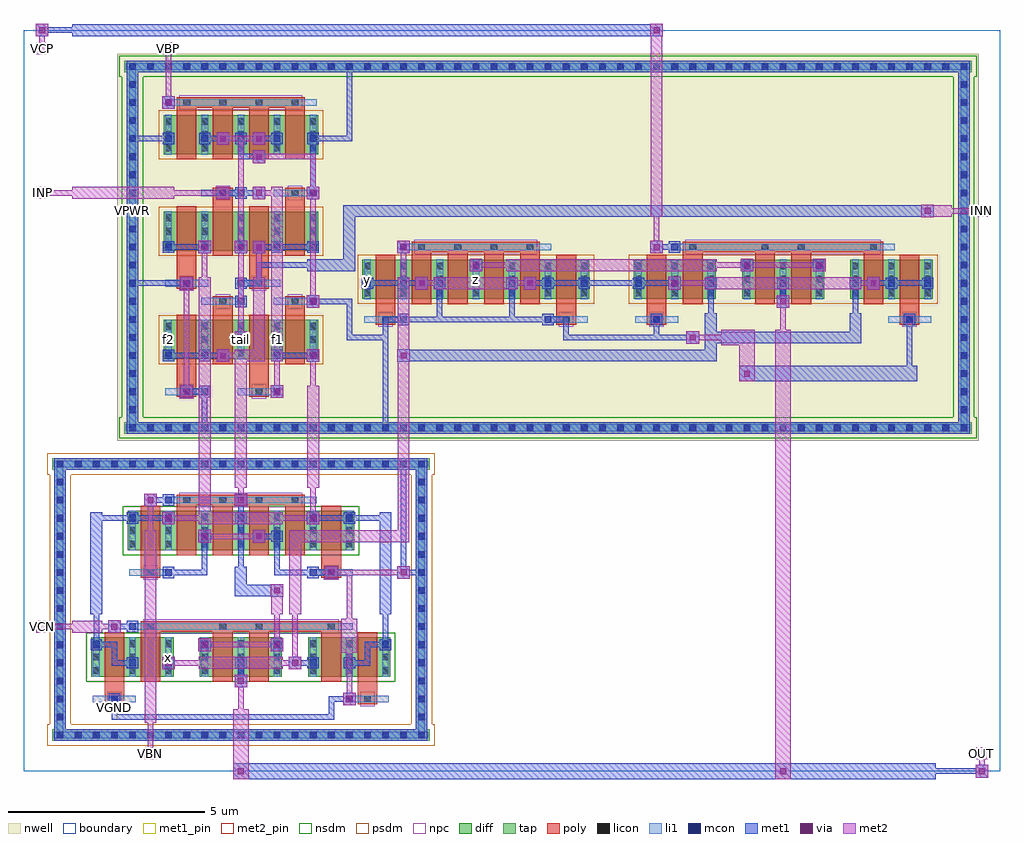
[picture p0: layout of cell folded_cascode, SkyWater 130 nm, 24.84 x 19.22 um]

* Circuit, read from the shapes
.subckt folded_cascode INN INP OUT VBN VBP VCN VCP VGND VPWR f1 f2 tail x y z
XM1 f1 VGND f1 VGND sky130_fd_pr__nfet_01v8 w=1 l=0.5 m=4
XM2 x VCN f1 VGND sky130_fd_pr__nfet_01v8 w=1 l=0.5 m=2
XM3 VGND VBN f1 VGND sky130_fd_pr__nfet_01v8 w=1 l=0.5 m=2
XM4 OUT VCN f2 VGND sky130_fd_pr__nfet_01v8 w=1 l=0.5 m=2
XM5 f2 VBN VGND VGND sky130_fd_pr__nfet_01v8 w=1 l=0.5 m=2
XM6 f2 VPWR f2 VPWR sky130_fd_pr__pfet_01v8 w=1 l=0.5 m=2
XM7 f1 VPWR f1 VPWR sky130_fd_pr__pfet_01v8 w=1 l=0.5 m=2
XM8 tail VBP VPWR VPWR sky130_fd_pr__pfet_01v8 w=1 l=0.5 m=4
XM9 tail INN f2 VPWR sky130_fd_pr__pfet_01v8 w=1 l=0.5 m=2
XM10 tail INP f1 VPWR sky130_fd_pr__pfet_01v8 w=1 l=0.5 m=2
XM11 y VPWR y VPWR sky130_fd_pr__pfet_01v8 w=1 l=0.5 m=4
XM12 VPWR x y VPWR sky130_fd_pr__pfet_01v8 w=1 l=0.5 m=2
XM13 z x VPWR VPWR sky130_fd_pr__pfet_01v8 w=1 l=0.5 m=2
XM14 x VCP y VPWR sky130_fd_pr__pfet_01v8 w=1 l=0.5 m=2
XM15 OUT VCP z VPWR sky130_fd_pr__pfet_01v8 w=1 l=0.5 m=2
.ends

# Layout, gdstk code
import gdstk
lib = gdstk.Library(unit=1e-6, precision=1e-09)
def R(c, l, rs):  # rectangles x0, y0, x1, y1
    for r in rs: c.add(gdstk.rectangle(r[:2], r[2:], *l))
def A(c, l, x, y, w, h, nx, ny, dx, dy):  # array of equal rectangles
    R(c, l, [(x+i*dx, y+j*dy, x+i*dx+w, y+j*dy+h) for i in range(nx) for j in range(ny)])
nwell = (64, 20)
diff = (65, 20)
tap = (65, 44)
poly = (66, 20)
licon = (66, 44)
li1 = (67, 20)
mcon = (67, 44)
met1_pin = (68, 16)
met1 = (68, 20)
via = (68, 44)
met2_pin = (69, 16)
met2 = (69, 20)
nsdm = (93, 44)
psdm = (94, 20)
npc = (95, 20)
boundary = (235, 4)

folded_cascode = lib.new_cell('folded_cascode')
R(folded_cascode, nwell, [(2.375,8.415,24.305,18.265)])
A(folded_cascode, diff, 1.715, 2.405, 2.09, 1, 3, 1, 2.76, 0)
A(folded_cascode, diff, 15.515, 12.02, 2.09, 1, 3, 1, 2.76, 0)
R(folded_cascode, diff, [(2.635,5.625,8.405,6.625), (3.555,10.485,7.485,11.485), (8.615,12.02,14.385,13.02), (3.555,13.245,7.485,14.245), (3.555,15.7,7.485,16.7)])
R(folded_cascode, tap, [(0.715,0.775,10.325,1.065), (0.775,0.775,1.065,7.965), (9.975,0.775,10.265,7.965), (0.715,7.675,10.325,7.965), (2.555,8.595,24.125,8.885), (2.615,8.595,2.905,18.085), (23.775,8.595,24.065,18.085), (2.555,17.795,24.125,18.085)])
A(folded_cascode, poly, 3.89, 5.495, 0.5, 1.405, 4, 1, 0.92, 0)
A(folded_cascode, poly, 9.87, 11.89, 0.5, 1.45, 4, 1, 0.92, 0)
A(folded_cascode, poly, 3.89, 15.57, 0.5, 1.45, 4, 1, 0.92, 0)
R(folded_cascode, poly, [(2.05,1.705,2.55,1.975), (8.49,1.705,8.99,1.975), (2.05,1.84,2.55,3.535), (8.49,1.84,8.99,3.535), (2.97,2.275,3.47,3.68), (4.81,2.275,5.31,3.68), (5.73,2.275,6.23,3.68), (7.57,2.275,8.07,3.68), (2.97,3.545,8.07,3.815), (2.97,4.925,3.47,5.195), (7.57,4.925,8.07,5.195), (2.97,5.06,3.47,6.755), (7.57,5.06,8.07,6.755), (3.89,6.765,7.15,7.035), (3.89,9.525,4.39,9.795), (5.73,9.525,6.23,9.795), (3.89,9.66,4.39,11.615), (5.73,9.66,6.23,11.615), (4.81,10.355,5.31,11.96), (6.65,10.355,7.15,11.96), (8.95,11.365,9.45,11.635), (13.55,11.365,14.05,11.635), (15.85,11.365,16.35,11.635), (22.29,11.365,22.79,11.635), (8.95,11.5,9.45,13.15), (13.55,11.5,14.05,13.15), (15.85,11.5,16.35,13.15), (22.29,11.5,22.79,13.15), (4.81,11.825,5.31,12.095), (6.65,11.825,7.15,12.095), (16.77,11.89,17.27,13.34), (18.61,11.89,19.11,13.34), (19.53,11.89,20.03,13.34), (21.37,11.89,21.87,13.34), (3.89,12.285,4.39,12.555), (5.73,12.285,6.23,12.555), (3.89,12.42,4.39,14.375), (5.73,12.42,6.23,14.375), (4.81,13.115,5.31,14.72), (6.65,13.115,7.15,14.72), (9.87,13.205,13.13,13.475), (16.77,13.205,21.87,13.475), (4.81,14.585,5.31,14.855), (6.65,14.585,7.15,14.855), (3.89,16.885,7.15,17.155)])
A(folded_cascode, licon, 0.835, 0.835, 0.17, 0.17, 21, 2, 0.46, 6.9)
A(folded_cascode, licon, 0.835, 1.295, 0.17, 0.17, 1, 14, 0, 0.46)
A(folded_cascode, licon, 10.035, 1.295, 0.17, 0.17, 1, 14, 0, 0.46)
A(folded_cascode, licon, 1.755, 2.48, 0.17, 0.17, 9, 3, 0.92, 0.34)
A(folded_cascode, licon, 2.675, 5.7, 0.17, 0.17, 7, 3, 0.92, 0.34)
A(folded_cascode, licon, 4.055, 6.815, 0.17, 0.17, 4, 2, 0.92, 10.12)
A(folded_cascode, licon, 2.675, 8.655, 0.17, 0.17, 47, 2, 0.46, 9.2)
A(folded_cascode, licon, 2.675, 9.115, 0.17, 0.17, 1, 19, 0, 0.46)
A(folded_cascode, licon, 23.835, 9.115, 0.17, 0.17, 1, 19, 0, 0.46)
A(folded_cascode, licon, 3.595, 10.56, 0.17, 0.17, 5, 3, 0.92, 0.34)
A(folded_cascode, licon, 8.655, 12.095, 0.17, 0.17, 7, 3, 0.92, 0.34)
A(folded_cascode, licon, 15.555, 12.095, 0.17, 0.17, 9, 3, 0.92, 0.34)
A(folded_cascode, licon, 10.035, 13.255, 0.17, 0.17, 4, 1, 0.92, 0)
A(folded_cascode, licon, 3.595, 13.32, 0.17, 0.17, 5, 3, 0.92, 0.34)
A(folded_cascode, licon, 3.595, 15.775, 0.17, 0.17, 5, 3, 0.92, 0.34)
R(folded_cascode, licon, [(2.215,1.755,2.385,1.925), (8.655,1.755,8.825,1.925), (3.135,3.595,3.305,3.765), (4.975,3.595,5.145,3.765), (5.895,3.595,6.065,3.765), (7.735,3.595,7.905,3.765), (3.135,4.975,3.305,5.145), (7.735,4.975,7.905,5.145), (4.055,9.575,4.225,9.745), (5.895,9.575,6.065,9.745), (9.115,11.415,9.285,11.585), (13.715,11.415,13.885,11.585), (16.015,11.415,16.185,11.585), (22.455,11.415,22.625,11.585), (4.975,11.875,5.145,12.045), (6.815,11.875,6.985,12.045), (4.055,12.335,4.225,12.505), (5.895,12.335,6.065,12.505), (16.935,13.255,17.105,13.425), (18.775,13.255,18.945,13.425), (19.695,13.255,19.865,13.425), (21.535,13.255,21.705,13.425), (4.975,14.635,5.145,14.805), (6.815,14.635,6.985,14.805)])
A(folded_cascode, li1, 1.755, 2.4, 0.17, 1.01, 9, 1, 0.92, 0)
A(folded_cascode, li1, 2.675, 5.62, 0.17, 1.01, 7, 1, 0.92, 0)
A(folded_cascode, li1, 3.595, 10.48, 0.17, 1.01, 5, 2, 0.92, 2.76)
A(folded_cascode, li1, 8.655, 12.015, 0.17, 1.01, 7, 1, 0.92, 0)
A(folded_cascode, li1, 15.555, 12.015, 0.17, 1.01, 9, 1, 0.92, 0)
A(folded_cascode, li1, 3.595, 15.695, 0.17, 1.01, 5, 1, 0.92, 0)
R(folded_cascode, li1, [(0.755,0.835,10.285,1.005), (0.835,0.835,1.005,7.905), (10.035,0.835,10.205,7.905), (1.755,1.755,2.845,1.925), (8.195,1.755,9.285,1.925), (2.675,3.595,8.365,3.765), (2.675,4.975,3.765,5.145), (7.275,4.975,8.365,5.145), (3.595,6.815,7.445,6.985), (0.755,7.735,10.285,7.905), (2.595,8.655,24.085,8.825), (2.675,8.655,2.845,18.025), (23.835,8.655,24.005,18.025), (3.595,9.575,4.685,9.745), (5.435,9.575,6.525,9.745), (8.655,11.415,9.745,11.585), (13.255,11.415,14.345,11.585), (15.555,11.415,16.645,11.585), (21.995,11.415,23.085,11.585), (4.515,11.875,5.605,12.045), (6.355,11.875,7.445,12.045), (3.595,12.335,4.685,12.505), (5.435,12.335,6.525,12.505), (9.575,13.255,13.425,13.425), (16.475,13.255,22.165,13.425), (4.515,14.635,5.605,14.805), (6.355,14.635,7.445,14.805), (3.595,16.935,7.445,17.105), (2.595,17.855,24.085,18.025)])
A(folded_cascode, mcon, 0.835, 0.835, 0.17, 0.17, 21, 2, 0.46, 6.9)
A(folded_cascode, mcon, 0.835, 1.295, 0.17, 0.17, 1, 14, 0, 0.46)
A(folded_cascode, mcon, 10.035, 1.295, 0.17, 0.17, 1, 14, 0, 0.46)
A(folded_cascode, mcon, 3.595, 2.675, 0.17, 0.17, 3, 2, 1.84, 3.68)
A(folded_cascode, mcon, 2.675, 3.595, 0.17, 0.17, 1, 3, 0, 2.76)
A(folded_cascode, mcon, 2.675, 8.655, 0.17, 0.17, 47, 2, 0.46, 9.2)
A(folded_cascode, mcon, 23.835, 9.115, 0.17, 0.17, 1, 7, 0, 0.46)
A(folded_cascode, mcon, 2.675, 9.575, 0.17, 0.17, 3, 1, 1.84, 0)
A(folded_cascode, mcon, 2.675, 10.495, 0.17, 0.17, 3, 1, 0.92, 0)
A(folded_cascode, mcon, 2.675, 10.955, 0.17, 0.17, 1, 3, 0, 0.46)
A(folded_cascode, mcon, 2.675, 12.335, 0.17, 0.17, 3, 1, 1.38, 0)
A(folded_cascode, mcon, 8.655, 12.335, 0.17, 0.17, 3, 1, 0.92, 0)
A(folded_cascode, mcon, 12.335, 12.335, 0.17, 0.17, 3, 1, 0.92, 0)
A(folded_cascode, mcon, 15.555, 12.335, 0.17, 0.17, 3, 1, 0.92, 0)
A(folded_cascode, mcon, 21.075, 12.335, 0.17, 0.17, 4, 1, 0.92, 0)
A(folded_cascode, mcon, 23.835, 12.795, 0.17, 0.17, 1, 11, 0, 0.46)
A(folded_cascode, mcon, 2.675, 13.255, 0.17, 0.17, 6, 2, 0.92, 2.76)
A(folded_cascode, mcon, 2.675, 13.715, 0.17, 0.17, 1, 5, 0, 0.46)
A(folded_cascode, mcon, 2.675, 16.475, 0.17, 0.17, 1, 3, 0, 0.46)
R(folded_cascode, mcon, [(2.215,1.755,2.385,1.925), (8.195,1.755,8.365,1.925), (2.675,2.675,2.845,2.845), (8.195,2.675,8.365,2.845), (1.755,3.135,1.925,3.305), (4.515,3.135,4.685,3.305), (6.355,3.135,6.525,3.305), (9.115,3.135,9.285,3.305), (3.595,4.975,3.765,5.145), (7.275,4.975,7.445,5.145), (4.515,5.895,4.685,6.065), (6.355,5.895,6.525,6.065), (8.195,6.355,8.365,6.525), (3.595,6.815,3.765,6.985), (2.675,10.035,2.845,10.205), (6.355,10.495,6.525,10.665), (7.275,10.495,7.445,10.665), (5.435,10.955,5.605,11.125), (9.575,11.415,9.745,11.585), (13.255,11.415,13.425,11.585), (16.015,11.415,16.185,11.585), (22.455,11.415,22.625,11.585), (5.435,11.875,5.605,12.045), (7.275,11.875,7.445,12.045), (19.235,12.335,19.405,12.505), (2.675,12.795,2.845,12.965), (11.415,12.795,11.585,12.965), (18.315,12.795,18.485,12.965), (20.155,12.795,20.325,12.965), (9.575,13.255,9.745,13.425), (16.475,13.255,16.645,13.425), (5.435,14.635,5.605,14.805), (7.275,14.635,7.445,14.805), (3.595,16.935,3.765,17.105)])
R(folded_cascode, met1_pin, [(2.23,1.31,2.37,1.91), (2.69,12.35,2.83,16.17)])
A(folded_cascode, met1, 3.535, 2.615, 0.29, 0.29, 3, 2, 1.84, 3.68)
A(folded_cascode, met1, 4.9, 10.42, 0.32, 0.32, 3, 1, 2.3, 0)
A(folded_cascode, met1, 8.595, 12.275, 0.29, 0.29, 3, 1, 0.92, 0)
A(folded_cascode, met1, 12.275, 12.275, 0.29, 0.29, 3, 1, 0.92, 0)
A(folded_cascode, met1, 15.495, 12.275, 0.29, 0.29, 3, 1, 0.92, 0)
A(folded_cascode, met1, 21.015, 12.275, 0.29, 0.29, 3, 1, 0.92, 0)
A(folded_cascode, met1, 3.535, 13.195, 0.29, 0.29, 5, 2, 0.92, 2.76)
R(folded_cascode, met1, [(5.32,-0.2,23.2,0.2), (5.32,-0.2,5.72,0.2), (19.12,-0.2,19.52,0.2), (24.22,-0.16,24.54,0.16), (22.93,-0.07,24.45,0.07), (0.775,0.775,10.265,1.065), (0.775,0.775,1.065,7.965), (9.975,0.775,10.265,7.965), (2.23,1.31,2.37,1.91), (2.23,1.31,7.89,1.45), (7.75,1.31,7.89,1.91), (8.12,1.68,8.44,2), (2.155,1.695,2.445,1.985), (8.135,1.695,8.425,1.985), (7.75,1.77,8.35,1.91), (5.36,2.14,5.68,2.46), (5.45,2.23,5.59,2.83), (3.52,2.6,3.84,2.92), (6.74,2.6,7.06,2.92), (2.615,2.615,2.905,2.905), (8.135,2.615,8.425,2.905), (2.23,2.69,2.83,2.83), (2.23,2.69,2.37,3.29), (6.83,2.69,7.43,2.83), (8.21,2.69,8.81,2.83), (8.67,2.69,8.81,3.29), (4.44,3.06,4.76,3.38), (6.28,3.06,6.6,3.38), (1.695,3.075,1.985,3.365), (4.455,3.075,4.745,3.365), (6.295,3.075,6.585,3.365), (9.055,3.075,9.345,3.365), (1.77,3.15,1.91,4.21), (1.77,3.15,2.37,3.29), (8.67,3.15,9.27,3.29), (9.13,3.15,9.27,4.21), (2.14,3.52,2.46,3.84), (2.615,3.535,2.905,3.825), (2.23,3.61,2.83,3.75), (1.69,3.99,1.99,6.59), (9.05,3.99,9.35,6.59), (6.28,4.44,6.6,4.76), (5.37,4.45,5.67,5.21), (5.37,4.45,6.59,4.75), (7.66,4.9,7.98,5.22), (9.5,4.9,9.82,5.22), (3.535,4.915,3.825,5.205), (7.215,4.915,7.505,5.205), (3.61,4.99,4.67,5.13), (4.53,4.99,4.67,6.05), (5.45,4.99,5.59,6.51), (6.37,4.99,6.51,6.05), (6.37,4.99,7.43,5.13), (7.29,4.99,7.89,5.13), (9.59,4.99,9.73,7.89), (9.59,4.99,10.19,5.13), (10.05,4.99,10.19,5.13), (4.44,5.82,4.76,6.14), (5.82,5.82,6.14,6.14), (4.455,5.835,4.745,6.125), (6.295,5.835,6.585,6.125), (5.91,5.91,6.51,6.05), (3.52,6.28,3.84,6.6), (7.2,6.28,7.52,6.6), (2.615,6.295,2.905,6.585), (8.135,6.295,8.425,6.585), (1.77,6.37,2.83,6.51), (2.69,6.37,3.75,6.51), (5.45,6.37,5.59,6.97), (7.29,6.37,8.35,6.51), (8.21,6.37,9.27,6.51), (3.06,6.74,3.38,7.06), (5.36,6.74,5.68,7.06), (3.535,6.755,3.825,7.045), (3.15,6.83,3.75,6.97), (0.775,7.675,10.265,7.965), (9.59,7.75,9.73,7.89), (2.615,8.595,24.065,8.885), (2.615,8.595,2.905,18.085), (23.775,8.595,24.065,18.085), (4.53,8.67,4.67,9.73), (4.53,8.67,9.27,8.81), (9.13,8.67,9.27,11.57), (9.13,8.67,9.27,8.81), (3.98,9.5,4.3,9.82), (6.28,9.5,6.6,9.82), (4.455,9.515,4.745,9.805), (6.295,9.515,6.585,9.805), (4.07,9.59,4.67,9.73), (18.2,9.92,18.6,10.32), (18.2,9.92,22.74,10.32), (22.47,10.05,22.61,11.57), (9.51,10.43,17.63,10.73), (17.33,10.43,17.63,11.65), (3.535,10.435,3.825,10.725), (4.455,10.435,4.745,10.725), (6.295,10.435,6.585,10.725), (7.215,10.435,7.505,10.725), (3.61,10.51,4.67,10.65), (4.53,10.51,5.13,10.65), (6.37,10.51,7.43,10.65), (5.36,10.88,5.68,11.2), (16.86,10.88,17.18,11.2), (17.33,10.89,21.31,11.19), (21.01,10.89,21.31,11.65), (5.375,10.895,5.665,11.185), (8.21,10.97,8.35,12.03), (8.21,10.97,9.27,11.11), (13.73,10.97,13.87,11.57), (13.73,10.97,16.17,11.11), (16.03,10.97,17.09,11.11), (16.03,10.97,16.17,11.57), (9.515,11.355,9.805,11.645), (13.195,11.355,13.485,11.645), (15.955,11.355,16.245,11.645), (22.395,11.355,22.685,11.645), (9.13,11.43,9.73,11.57), (9.59,11.43,10.65,11.57), (10.51,11.43,12.49,11.57), (10.51,11.43,10.65,12.49), (12.35,11.43,12.49,12.49), (12.35,11.43,13.41,11.57), (13.27,11.43,13.87,11.57), (17.41,11.43,17.55,12.49), (21.09,11.43,21.23,12.49), (7.2,11.8,7.52,12.12), (19.16,11.8,19.48,12.12), (5.375,11.815,5.665,12.105), (7.215,11.815,7.505,12.105), (5.45,11.89,5.59,12.49), (7.29,11.89,8.35,12.03), (19.25,11.89,19.39,12.49), (3.98,12.26,4.3,12.58), (9.96,12.26,10.28,12.58), (12.72,12.26,13.04,12.58), (16.4,12.26,16.72,12.58), (21.46,12.26,21.78,12.58), (3.995,12.275,4.285,12.565), (5.375,12.275,5.665,12.565), (19.175,12.275,19.465,12.565), (2.69,12.35,4.21,12.49), (2.69,12.35,2.83,16.17), (5.45,12.35,6.05,12.49), (5.91,12.35,6.05,12.95), (8.67,12.35,9.73,12.49), (9.59,12.35,10.19,12.49), (12.81,12.35,13.41,12.49), (13.27,12.35,14.33,12.49), (14.19,12.35,15.71,12.49), (15.57,12.35,16.63,12.49), (21.55,12.35,22.15,12.49), (22.01,12.35,23.07,12.49), (11.34,12.72,11.66,13.04), (18.24,12.72,18.56,13.04), (20.08,12.72,20.4,13.04), (7.21,12.73,8.43,13.03), (8.13,12.73,8.43,14.41), (11.355,12.735,11.645,13.025), (18.255,12.735,18.545,13.025), (20.095,12.735,20.385,13.025), (5.91,12.81,7.43,12.95), (4.44,13.18,4.76,13.5), (5.36,13.18,5.68,13.5), (5.82,13.18,6.14,13.5), (9.5,13.18,9.82,13.5), (15.94,13.18,16.26,13.5), (9.515,13.195,9.805,13.485), (16.415,13.195,16.705,13.485), (3.61,13.27,4.67,13.41), (5.91,13.27,6.51,13.41), (6.37,13.27,7.43,13.41), (16.03,13.27,16.63,13.41), (22.84,14.1,23.16,14.42), (8.13,14.11,23.15,14.41), (4.9,14.56,5.22,14.88), (5.82,14.56,6.14,14.88), (7.2,14.56,7.52,14.88), (5.375,14.575,5.665,14.865), (7.215,14.575,7.505,14.865), (4.99,14.65,5.59,14.79), (5.45,14.65,6.05,14.79), (7.29,14.65,7.43,16.17), (5.82,15.48,6.14,15.8), (5.45,15.57,6.05,15.71), (5.45,15.57,5.59,16.17), (4.9,15.94,5.22,16.26), (5.82,15.94,6.14,16.26), (2.69,16.03,3.75,16.17), (4.53,16.03,5.13,16.17), (5.91,16.03,6.51,16.17), (7.29,16.03,8.35,16.17), (8.21,16.03,8.35,18.01), (3.52,16.86,3.84,17.18), (3.535,16.875,3.825,17.165), (2.615,17.795,24.065,18.085), (8.21,17.87,8.35,18.01), (0.3,18.7,0.62,19.02), (15.94,18.7,16.26,19.02), (1.23,18.71,16.25,19.01), (0.39,18.79,1.45,18.93)])
A(folded_cascode, via, 4.985, 10.505, 0.15, 0.15, 3, 1, 2.3, 0)
R(folded_cascode, via, [(5.445,-0.075,5.595,0.075), (19.245,-0.075,19.395,0.075), (24.305,-0.075,24.455,0.075), (8.205,1.765,8.355,1.915), (5.445,2.225,5.595,2.375), (3.605,2.685,3.755,2.835), (6.825,2.685,6.975,2.835), (4.525,3.145,4.675,3.295), (6.365,3.145,6.515,3.295), (2.225,3.605,2.375,3.755), (6.365,4.525,6.515,4.675), (7.745,4.985,7.895,5.135), (9.585,4.985,9.735,5.135), (4.525,5.905,4.675,6.055), (5.905,5.905,6.055,6.055), (3.605,6.365,3.755,6.515), (7.285,6.365,7.435,6.515), (3.145,6.825,3.295,6.975), (5.445,6.825,5.595,6.975), (4.065,9.585,4.215,9.735), (6.365,9.585,6.515,9.735), (18.325,10.045,18.475,10.195), (5.445,10.965,5.595,11.115), (16.945,10.965,17.095,11.115), (7.285,11.885,7.435,12.035), (19.245,11.885,19.395,12.035), (4.065,12.345,4.215,12.495), (10.045,12.345,10.195,12.495), (12.805,12.345,12.955,12.495), (16.485,12.345,16.635,12.495), (21.545,12.345,21.695,12.495), (11.425,12.805,11.575,12.955), (18.325,12.805,18.475,12.955), (20.165,12.805,20.315,12.955), (4.525,13.265,4.675,13.415), (5.445,13.265,5.595,13.415), (5.905,13.265,6.055,13.415), (9.585,13.265,9.735,13.415), (16.025,13.265,16.175,13.415), (22.925,14.185,23.075,14.335), (4.985,14.645,5.135,14.795), (5.905,14.645,6.055,14.795), (7.285,14.645,7.435,14.795), (5.905,15.565,6.055,15.715), (4.985,16.025,5.135,16.175), (5.905,16.025,6.055,16.175), (3.605,16.945,3.755,17.095), (0.385,18.785,0.535,18.935), (16.025,18.785,16.175,18.935)])
R(folded_cascode, met2_pin, [(3.07,0.31,3.37,0.61), (24.23,0.31,24.53,0.61), (0.31,3.53,0.61,3.83), (24.23,14.11,24.53,14.41), (0.31,14.57,0.61,14.87), (0.31,18.25,0.61,18.55), (3.53,18.25,3.83,18.55)])
A(folded_cascode, met2, 4.9, 10.42, 0.32, 0.32, 3, 1, 2.3, 0)
R(folded_cascode, met2, [(5.32,-0.2,5.72,0.2), (5.32,-0.2,5.72,1.58), (19.12,-0.2,19.52,11.24), (19.12,-0.2,19.52,0.2), (24.22,-0.16,24.54,0.16), (24.31,-0.07,24.45,0.53), (3.07,0.31,3.37,0.61), (24.23,0.31,24.53,0.61), (3.15,0.39,3.29,0.53), (3.15,0.39,3.29,1.45), (24.31,0.39,24.45,0.53), (3.07,1.23,3.37,6.13), (5.45,1.31,5.59,2.37), (8.12,1.68,8.44,2), (8.21,1.77,8.35,3.29), (5.36,2.14,5.68,2.46), (3.52,2.6,3.84,2.92), (6.74,2.6,7.06,2.92), (4.45,2.61,6.59,2.91), (3.61,2.69,4.67,2.83), (6.37,2.69,6.97,2.83), (6.83,2.69,6.97,4.21), (8.08,3.02,8.48,3.88), (4.44,3.06,4.76,3.38), (6.28,3.06,6.6,3.38), (4.53,3.15,6.51,3.29), (6.37,3.15,6.51,4.21), (2.14,3.52,2.46,3.84), (0.31,3.53,0.61,3.83), (1.23,3.53,1.99,3.83), (0.39,3.61,1.45,3.75), (0.39,3.61,0.53,3.75), (1.77,3.61,2.37,3.75), (8.21,3.61,8.35,5.13), (6.29,3.99,6.59,4.75), (6.75,3.99,7.05,6.13), (6.28,4.44,6.6,4.76), (7.66,4.9,7.98,5.22), (9.5,4.9,9.82,5.22), (7.75,4.99,9.73,5.13), (4.44,5.82,4.76,6.14), (5.82,5.82,6.14,6.14), (6.75,5.83,9.81,6.13), (9.51,5.83,9.81,12.57), (3.15,5.91,3.29,6.97), (4.53,5.91,6.05,6.05), (3.52,6.28,3.84,6.6), (7.2,6.28,7.52,6.6), (4.45,6.29,4.75,12.57), (4.45,6.29,6.59,6.59), (3.61,6.37,4.67,6.51), (6.37,6.37,7.43,6.51), (7.29,6.37,7.43,7.43), (3.06,6.74,3.38,7.06), (5.36,6.74,5.68,7.06), (5.45,6.83,5.59,7.43), (5.37,7.21,5.67,10.73), (7.21,7.21,7.51,9.81), (3.98,9.5,4.3,9.82), (6.28,9.5,6.6,9.82), (4.07,9.59,4.21,12.49), (6.37,9.59,6.51,10.65), (7.29,9.59,7.43,10.65), (18.2,9.92,18.6,11.24), (18.2,9.92,18.6,10.32), (5.37,10.43,6.13,10.73), (5.83,10.43,6.13,12.57), (6.29,10.43,6.59,14.87), (4.99,10.51,5.59,10.65), (17.74,10.84,18.6,11.24), (5.36,10.88,5.68,11.2), (16.86,10.88,17.18,11.2), (5.45,10.97,5.59,13.41), (16.95,10.97,18.01,11.11), (19.25,10.97,19.39,12.03), (7.2,11.8,7.52,12.12), (19.16,11.8,19.48,12.12), (7.29,11.89,7.43,14.79), (3.98,12.26,4.3,12.58), (9.96,12.26,10.28,12.58), (12.72,12.26,13.04,12.58), (16.4,12.26,16.72,12.58), (21.46,12.26,21.78,12.58), (10.43,12.27,12.57,12.57), (17.33,12.27,21.31,12.57), (4.53,12.35,4.67,13.41), (5.91,12.35,6.05,13.41), (9.59,12.35,9.73,13.41), (10.05,12.35,10.65,12.49), (12.35,12.35,12.95,12.49), (16.49,12.35,17.55,12.49), (21.09,12.35,21.69,12.49), (11.34,12.72,11.66,13.04), (18.24,12.72,18.56,13.04), (20.08,12.72,20.4,13.04), (12.27,12.73,17.63,13.03), (11.43,12.81,12.49,12.95), (17.41,12.81,18.47,12.95), (18.33,12.81,20.31,12.95), (4.44,13.18,4.76,13.5), (5.36,13.18,5.68,13.5), (5.82,13.18,6.14,13.5), (9.5,13.18,9.82,13.5), (15.94,13.18,16.26,13.5), (5.45,13.27,5.59,16.17), (16.03,13.27,16.17,14.33), (22.84,14.1,23.16,14.42), (15.95,14.11,16.25,19.01), (22.85,14.11,23.61,14.41), (24.23,14.11,24.53,14.41), (23.39,14.19,24.45,14.33), (24.31,14.19,24.45,14.33), (4.9,14.56,5.22,14.88), (5.82,14.56,6.14,14.88), (7.2,14.56,7.52,14.88), (0.31,14.57,0.61,14.87), (1.23,14.57,3.83,14.87), (0.39,14.65,1.45,14.79), (0.39,14.65,0.53,14.79), (3.61,14.65,5.13,14.79), (5.91,14.65,6.51,14.79), (7.29,14.65,7.43,15.71), (5.82,15.48,6.14,15.8), (5.91,15.57,7.43,15.71), (4.9,15.94,5.22,16.26), (5.82,15.94,6.14,16.26), (4.99,16.03,5.59,16.17), (5.45,16.03,6.05,16.17), (3.52,16.86,3.84,17.18), (3.61,16.95,3.75,18.47), (0.31,18.25,0.61,18.55), (3.53,18.25,3.83,18.55), (0.39,18.33,0.53,18.47), (0.39,18.33,0.53,18.93), (3.61,18.33,3.75,18.47), (0.3,18.7,0.62,19.02), (15.94,18.7,16.26,19.02)])
R(folded_cascode, nsdm, [(1.59,2.28,9.45,3.53), (2.51,5.5,8.53,6.75), (2.43,8.47,24.25,9.01), (2.49,9.01,3.03,17.67), (23.65,9.01,24.19,17.67), (2.43,17.67,24.25,18.21)])
R(folded_cascode, psdm, [(0.59,0.65,10.45,1.19), (0.65,1.19,1.19,7.55), (9.85,1.19,10.39,7.55), (0.59,7.55,10.45,8.09), (3.43,10.36,7.61,11.61), (8.49,11.895,14.51,13.145), (15.39,11.895,23.25,13.145), (3.43,13.12,7.61,14.37), (3.43,15.575,7.61,16.825)])
R(folded_cascode, npc, [(2.115,1.655,2.485,2.025), (8.555,1.655,8.925,2.025), (3.035,3.495,8.005,3.865), (3.035,4.875,3.405,5.245), (7.635,4.875,8.005,5.245), (3.955,6.715,7.085,7.085), (3.955,9.475,4.325,9.845), (5.795,9.475,6.165,9.845), (9.015,11.315,9.385,11.685), (13.615,11.315,13.985,11.685), (15.915,11.315,16.285,11.685), (22.355,11.315,22.725,11.685), (4.875,11.775,5.245,12.145), (6.715,11.775,7.085,12.145), (3.955,12.235,4.325,12.605), (5.795,12.235,6.165,12.605), (9.935,13.155,13.065,13.525), (16.835,13.155,21.805,13.525), (4.875,14.535,5.245,14.905), (6.715,14.535,7.085,14.905), (3.955,16.835,7.085,17.205)])
R(folded_cascode, boundary, [(0,0,24.84,18.86)])
folded_cascode.add(gdstk.Label('f2', (3.68,10.985), layer=67, texttype=5))
folded_cascode.add(gdstk.Label('tail', (5.52,10.985), layer=67, texttype=5))
folded_cascode.add(gdstk.Label('f1', (6.44,10.985), layer=67, texttype=5))
folded_cascode.add(gdstk.Label('x', (3.68,2.905), layer=67, texttype=5))
folded_cascode.add(gdstk.Label('y', (8.74,12.52), layer=67, texttype=5))
folded_cascode.add(gdstk.Label('z', (11.5,12.52), layer=67, texttype=5))
folded_cascode.add(gdstk.Label('VPWR', (2.76,14.26), layer=68, texttype=5))
folded_cascode.add(gdstk.Label('VGND', (2.3,1.61), layer=68, texttype=5))
folded_cascode.add(gdstk.Label('INP', (0.46,14.72), layer=69, texttype=5))
folded_cascode.add(gdstk.Label('INN', (24.38,14.26), layer=69, texttype=5))
folded_cascode.add(gdstk.Label('VBP', (3.68,18.4), layer=69, texttype=5))
folded_cascode.add(gdstk.Label('VBN', (3.22,0.46), layer=69, texttype=5))
folded_cascode.add(gdstk.Label('VCN', (0.46,3.68), layer=69, texttype=5))
folded_cascode.add(gdstk.Label('VCP', (0.46,18.4), layer=69, texttype=5))
folded_cascode.add(gdstk.Label('OUT', (24.38,0.46), layer=69, texttype=5))
folded_cascode.add(gdstk.Label('VPWR', (2.76,14.26), layer=68, texttype=16))
folded_cascode.add(gdstk.Label('VGND', (2.3,1.61), layer=68, texttype=16))
folded_cascode.add(gdstk.Label('INP', (0.46,14.72), layer=69, texttype=16))
folded_cascode.add(gdstk.Label('INN', (24.38,14.26), layer=69, texttype=16))
folded_cascode.add(gdstk.Label('VBP', (3.68,18.4), layer=69, texttype=16))
folded_cascode.add(gdstk.Label('VBN', (3.22,0.46), layer=69, texttype=16))
folded_cascode.add(gdstk.Label('VCN', (0.46,3.68), layer=69, texttype=16))
folded_cascode.add(gdstk.Label('VCP', (0.46,18.4), layer=69, texttype=16))
folded_cascode.add(gdstk.Label('OUT', (24.38,0.46), layer=69, texttype=16))

lib.write_gds('folded_cascode.gds')
